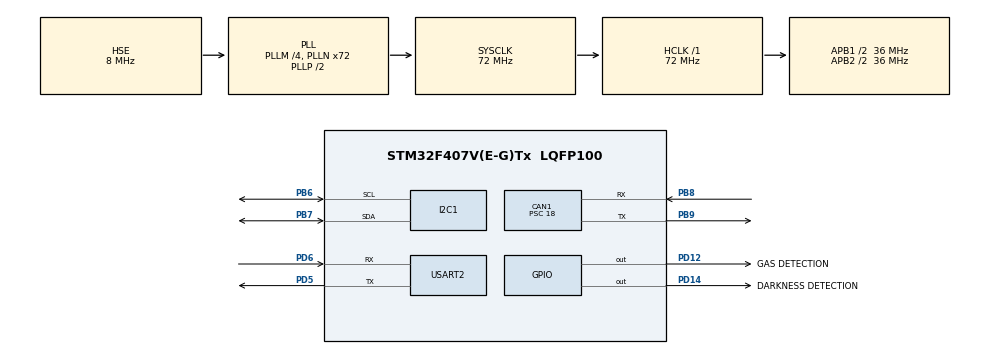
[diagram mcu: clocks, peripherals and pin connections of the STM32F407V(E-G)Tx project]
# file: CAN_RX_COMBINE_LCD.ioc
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CAN1.BS1=CAN_BS1_2TQ
CAN1.CalculateBaudRate=500000
CAN1.CalculateTimeBit=2000
CAN1.CalculateTimeQuantum=500.0
CAN1.Prescaler=18
Mcu.Family=STM32F4
Mcu.Name=STM32F407V(E-G)Tx
Mcu.Package=LQFP100
NVIC.CAN1_RX0_IRQn=true\:0\:0\:false\:false\:true\:true\:true\:true
NVIC.PriorityGroup=NVIC_PRIORITYGROUP_0
PB6.Mode=I2C
PB6.Signal=I2C1_SCL
PB7.Mode=I2C
PB7.Signal=I2C1_SDA
PB8.Mode=CAN_Activate
PB8.Signal=CAN1_RX
PB9.Mode=CAN_Activate
PB9.Signal=CAN1_TX
PD12.GPIO_Label=GAS DETECTION
PD12.Signal=GPIO_Output
PD14.GPIO_Label=DARKNESS DETECTION
PD14.Signal=GPIO_Output
PD5.Mode=Asynchronous
PD5.Signal=USART2_TX
PD6.Mode=Asynchronous
PD6.Signal=USART2_RX
PH0-OSC_IN.Mode=HSE-External-Oscillator
PH0-OSC_IN.Signal=RCC_OSC_IN
PH1-OSC_OUT.Mode=HSE-External-Oscillator
PH1-OSC_OUT.Signal=RCC_OSC_OUT
ProjectManager.HeapSize=0x200
ProjectManager.StackSize=0x400
ProjectManager.TargetToolchain=STM32CubeIDE
RCC.48MHZClocksFreq_Value=20571428.57142857
RCC.AHBFreq_Value=72000000
RCC.APB1CLKDivider=RCC_HCLK_DIV2
RCC.APB1Freq_Value=36000000
RCC.APB1TimFreq_Value=72000000
RCC.APB2CLKDivider=RCC_HCLK_DIV2
RCC.APB2Freq_Value=36000000
RCC.APB2TimFreq_Value=72000000
RCC.CortexFreq_Value=72000000
RCC.HCLKFreq_Value=72000000
RCC.HSE_VALUE=8000000
RCC.HSI_VALUE=16000000
RCC.LSE_VALUE=32768
RCC.PLLM=4
RCC.PLLN=72
RCC.PLLQ=7
RCC.PLLSourceVirtual=RCC_PLLSOURCE_HSE
RCC.SYSCLKFreq_VALUE=72000000
RCC.SYSCLKSource=RCC_SYSCLKSOURCE_PLLCLK
RCC.VCOOutputFreq_Value=144000000
USART2.VirtualMode=VM_ASYNC
board=STM32F407G-DISC1

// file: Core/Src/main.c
/* USER CODE BEGIN Header */
/**
  ******************************************************************************
  * @file           : main.c
  * @brief          : Main program body
  ******************************************************************************
  * @attention
  *
  * Copyright (c) 2025 STMicroelectronics.
  * All rights reserved.
  *
  * This software is licensed under terms that can be found in the LICENSE file
  * in the root directory of this software component.
  * If no LICENSE file comes with this software, it is provided AS-IS.
  *
  ******************************************************************************
  */
/* USER CODE END Header */
#include "main.h"

/* USER CODE BEGIN Includes */
#include "stdio.h"
#include "string.h"
#include "lcd.h"
#include <stdbool.h>
/* USER CODE END Includes */

CAN_HandleTypeDef hcan1;

I2C_HandleTypeDef hi2c1;

UART_HandleTypeDef huart2;

void SystemClock_Config(void);
static void MX_GPIO_Init(void);
static void MX_CAN1_Init(void);
static void MX_USART2_UART_Init(void);
static void MX_I2C1_Init(void);

/* USER CODE BEGIN 0 */

//CAN_RxHeaderTypeDef RxHeader;
//uint8_t RxData[8];
//uint8_t flag=0;

uint16_t LDR_Value = 0;
uint16_t MQ5_Value = 0;
uint8_t Temp_Value = 0;
uint8_t Hum_Value = 0;
volatile uint8_t dataReady = 0;

void HAL_CAN_RxFifo0MsgPendingCallback(CAN_HandleTypeDef *hcan)
{
	CAN_RxHeaderTypeDef RxHeader;
	uint8_t RxData[8];

	    if (HAL_CAN_GetRxMessage(hcan, CAN_RX_FIFO0, &RxHeader, RxData) == HAL_OK)
	    {
	        if (RxHeader.DLC == 8)
	        {

	            LDR_Value  = (RxData[0] << 8) | RxData[1];
	            MQ5_Value  = (RxData[2] << 8) | RxData[3];
	            Temp_Value = (RxData[4] << 8) | RxData[5];
	            Hum_Value  = (RxData[6] << 8) | RxData[7];
	            dataReady  = 1;
	        }
	    }
}
/* USER CODE END 0 */

int main(void)
{

  /* MCU Configuration--------------------------------------------------------*/

  /* Reset of all peripherals, Initializes the Flash interface and the Systick. */
  HAL_Init();

  /* Configure the system clock */
  SystemClock_Config();

  /* Initialize all configured peripherals */
  MX_GPIO_Init();
  MX_CAN1_Init();
  MX_USART2_UART_Init();
  MX_I2C1_Init();
  /* USER CODE BEGIN 2 */

  HAL_CAN_Start(&hcan1);
  HAL_CAN_ActivateNotification(&hcan1, CAN_IT_RX_FIFO0_MSG_PENDING);
  LcdInit();
  HAL_Delay(100);

  /* USER CODE END 2 */

  /* Infinite loop */
  /* USER CODE BEGIN WHILE */
  while (1){
//	  HAL_GPIO_WritePin(GPIOD, GPIO_PIN_12, GPIO_PIN_RESET);
//	  HAL_GPIO_WritePin(GPIOD, GPIO_PIN_14, GPIO_PIN_RESET);
	  if (dataReady)
	  {
	      char lcdMsgLine1[32];
	      char lcdMsgLine2[32];
	      char uartMsg[100];

	      // Line 1: Display temperature and humidity
	      sprintf(lcdMsgLine1, "T:%uC H:%u%%", Temp_Value, Hum_Value);
	      sprintf(uartMsg, "LDR: %u  MQ5: %u  Temp: %uC  Humidity: %u%%\r\n",
	                      LDR_Value, MQ5_Value, Temp_Value, Hum_Value);

	      HAL_UART_Transmit(&huart2, (uint8_t *)uartMsg, strlen(uartMsg), HAL_MAX_DELAY);
	      LcdPuts(LCD_LINE1, lcdMsgLine1);

	      bool darkness = (LDR_Value > 2000);
	      bool gas      = (MQ5_Value > 1500);

	      // Handle LEDs and Alert messages
	      if (darkness && gas) {
	          // Case 1: Darkness + Gas
	          HAL_GPIO_WritePin(GPIOD, GPIO_PIN_14, GPIO_PIN_SET);  // Red LED
	          HAL_GPIO_WritePin(GPIOD, GPIO_PIN_12, GPIO_PIN_SET);  // Green LED
	          strcpy(lcdMsgLine2, "GAS DARK     ");
	      }
	      else if (!darkness && !gas) {
	          // Case 2: Normal condition
	          HAL_GPIO_WritePin(GPIOD, GPIO_PIN_14, GPIO_PIN_RESET);
	          HAL_GPIO_WritePin(GPIOD, GPIO_PIN_12, GPIO_PIN_RESET);
	          strcpy(lcdMsgLine2, "NORMAL       ");
	      }
	      else if (darkness && !gas) {
	          // Case 3: Only Darkness
	          HAL_GPIO_WritePin(GPIOD, GPIO_PIN_14, GPIO_PIN_SET);
	          HAL_GPIO_WritePin(GPIOD, GPIO_PIN_12, GPIO_PIN_RESET);
	          strcpy(lcdMsgLine2, "DARK       ");
	      }
	      else if (!darkness && gas) {
	          // Case 4: Only Gas
	          HAL_GPIO_WritePin(GPIOD, GPIO_PIN_14, GPIO_PIN_RESET);
	          HAL_GPIO_WritePin(GPIOD, GPIO_PIN_12, GPIO_PIN_SET);
	          strcpy(lcdMsgLine2, "GAS        ");
	      }

	      // Show alert status on LCD Line 2
	      LcdPuts(LCD_LINE2, lcdMsgLine2);
	  }

	      dataReady = 0;
	  }
    /* USER CODE END WHILE */

}

void SystemClock_Config(void)
{
  RCC_OscInitTypeDef RCC_OscInitStruct = {0};
  RCC_ClkInitTypeDef RCC_ClkInitStruct = {0};

  /** Configure the main internal regulator output voltage
  */
  __HAL_RCC_PWR_CLK_ENABLE();
  __HAL_PWR_VOLTAGESCALING_CONFIG(PWR_REGULATOR_VOLTAGE_SCALE1);

  /** Initializes the RCC Oscillators according to the specified parameters
  * in the RCC_OscInitTypeDef structure.
  */
  RCC_OscInitStruct.OscillatorType = RCC_OSCILLATORTYPE_HSE;
  RCC_OscInitStruct.HSEState = RCC_HSE_ON;
  RCC_OscInitStruct.PLL.PLLState = RCC_PLL_ON;
  RCC_OscInitStruct.PLL.PLLSource = RCC_PLLSOURCE_HSE;
  RCC_OscInitStruct.PLL.PLLM = 4;
  RCC_OscInitStruct.PLL.PLLN = 72;
  RCC_OscInitStruct.PLL.PLLP = RCC_PLLP_DIV2;
  RCC_OscInitStruct.PLL.PLLQ = 7;
  if (HAL_RCC_OscConfig(&RCC_OscInitStruct) != HAL_OK)
  {
    Error_Handler();
  }

  /** Initializes the CPU, AHB and APB buses clocks
  */
  RCC_ClkInitStruct.ClockType = RCC_CLOCKTYPE_HCLK|RCC_CLOCKTYPE_SYSCLK
                              |RCC_CLOCKTYPE_PCLK1|RCC_CLOCKTYPE_PCLK2;
  RCC_ClkInitStruct.SYSCLKSource = RCC_SYSCLKSOURCE_PLLCLK;
  RCC_ClkInitStruct.AHBCLKDivider = RCC_SYSCLK_DIV1;
  RCC_ClkInitStruct.APB1CLKDivider = RCC_HCLK_DIV2;
  RCC_ClkInitStruct.APB2CLKDivider = RCC_HCLK_DIV2;

  if (HAL_RCC_ClockConfig(&RCC_ClkInitStruct, FLASH_LATENCY_2) != HAL_OK)
  {
    Error_Handler();
  }
}

static void MX_CAN1_Init(void)
{

  hcan1.Instance = CAN1;
  hcan1.Init.Prescaler = 18;
  hcan1.Init.Mode = CAN_MODE_NORMAL;
  hcan1.Init.SyncJumpWidth = CAN_SJW_1TQ;
  hcan1.Init.TimeSeg1 = CAN_BS1_2TQ;
  hcan1.Init.TimeSeg2 = CAN_BS2_1TQ;
  hcan1.Init.TimeTriggeredMode = DISABLE;
  hcan1.Init.AutoBusOff = DISABLE;
  hcan1.Init.AutoWakeUp = DISABLE;
  hcan1.Init.AutoRetransmission = DISABLE;
  hcan1.Init.ReceiveFifoLocked = DISABLE;
  hcan1.Init.TransmitFifoPriority = DISABLE;
  if (HAL_CAN_Init(&hcan1) != HAL_OK)
  {
    Error_Handler();
  }
  /* USER CODE BEGIN CAN1_Init 2 */
  CAN_FilterTypeDef FilterConfig;
  //FilterConfig.SlaveStartFilterBank = 9; // CAN1-0 to 8, CAN2-9 to 27
 FilterConfig.FilterActivation = CAN_FILTER_ENABLE;
 FilterConfig.FilterBank = 0; // Use any Filter from 0 to 8
 FilterConfig.FilterScale = CAN_FILTERSCALE_32BIT; // Use a 32-bit filter
 FilterConfig.FilterMode = CAN_FILTERMODE_IDMASK;
 FilterConfig.FilterMaskIdHigh = 0x7FF << 5;
 FilterConfig.FilterMaskIdLow = 0x0000;
 FilterConfig.FilterIdHigh = 0x0A9 << 5;
 FilterConfig.FilterIdLow = 0x0000;
 FilterConfig.FilterFIFOAssignment = CAN_RX_FIFO0;

 if(HAL_CAN_ConfigFilter(&hcan1, &FilterConfig) != HAL_OK)
	 Error_Handler();

  /* USER CODE END CAN1_Init 2 */

}

static void MX_I2C1_Init(void)
{

  hi2c1.Instance = I2C1;
  hi2c1.Init.ClockSpeed = 100000;
  hi2c1.Init.DutyCycle = I2C_DUTYCYCLE_2;
  hi2c1.Init.OwnAddress1 = 0;
  hi2c1.Init.AddressingMode = I2C_ADDRESSINGMODE_7BIT;
  hi2c1.Init.DualAddressMode = I2C_DUALADDRESS_DISABLE;
  hi2c1.Init.OwnAddress2 = 0;
  hi2c1.Init.GeneralCallMode = I2C_GENERALCALL_DISABLE;
  hi2c1.Init.NoStretchMode = I2C_NOSTRETCH_DISABLE;
  if (HAL_I2C_Init(&hi2c1) != HAL_OK)
  {
    Error_Handler();
  }

}

static void MX_USART2_UART_Init(void)
{

  huart2.Instance = USART2;
  huart2.Init.BaudRate = 115200;
  huart2.Init.WordLength = UART_WORDLENGTH_8B;
  huart2.Init.StopBits = UART_STOPBITS_1;
  huart2.Init.Parity = UART_PARITY_NONE;
  huart2.Init.Mode = UART_MODE_TX_RX;
  huart2.Init.HwFlowCtl = UART_HWCONTROL_NONE;
  huart2.Init.OverSampling = UART_OVERSAMPLING_16;
  if (HAL_UART_Init(&huart2) != HAL_OK)
  {
    Error_Handler();
  }

}

static void MX_GPIO_Init(void)
{
  GPIO_InitTypeDef GPIO_InitStruct = {0};

  /* GPIO Ports Clock Enable */
  __HAL_RCC_GPIOH_CLK_ENABLE();
  __HAL_RCC_GPIOD_CLK_ENABLE();
  __HAL_RCC_GPIOB_CLK_ENABLE();

  /*Configure GPIO pin Output Level */
  HAL_GPIO_WritePin(GPIOD, GAS_DETECTION_Pin|DARKNESS_DETECTION_Pin, GPIO_PIN_RESET);

  /*Configure GPIO pins : GAS_DETECTION_Pin DARKNESS_DETECTION_Pin */
  GPIO_InitStruct.Pin = GAS_DETECTION_Pin|DARKNESS_DETECTION_Pin;
  GPIO_InitStruct.Mode = GPIO_MODE_OUTPUT_PP;
  GPIO_InitStruct.Pull = GPIO_NOPULL;
  GPIO_InitStruct.Speed = GPIO_SPEED_FREQ_LOW;
  HAL_GPIO_Init(GPIOD, &GPIO_InitStruct);

}

void Error_Handler(void)
{
  __disable_irq();
  while (1)
  {
  }
}
